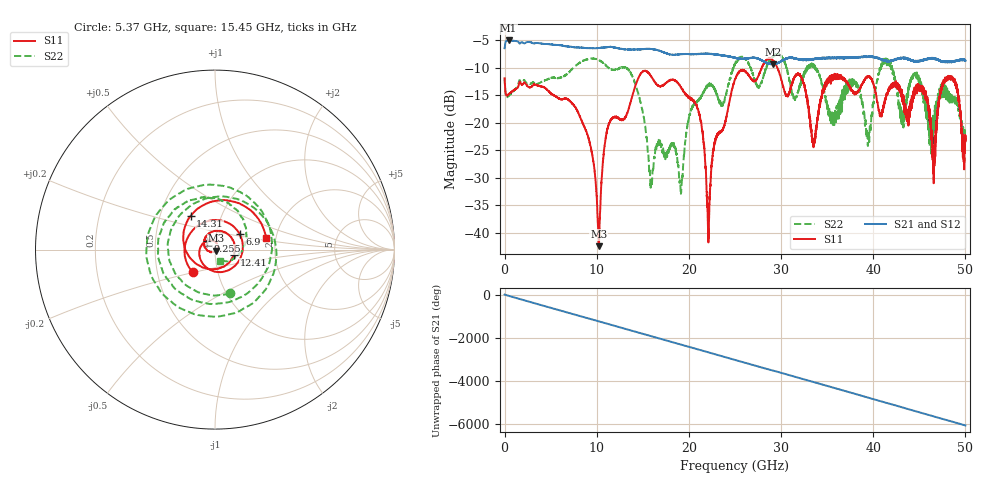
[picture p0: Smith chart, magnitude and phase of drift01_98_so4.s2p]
!Created with skrf (http://scikit-rf.org).
# Hz S RI R 50.0
!freq ReS11 ImS11 ReS21 ImS21 ReS12 ImS12 ReS22 ImS22
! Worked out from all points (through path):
!   10001 points, 300 kHz to 50 GHz, reference 50 ohm
!   highest |S21| = -5.05 dB at 425.3 MHz (marker M1); lowest = -9.4 dB at 29.12 GHz (marker M2)
!   group delay of S21, straight-line fit = 336 ps
!   lowest |S11| = -42.4 dB at 10.22 GHz (marker M3), VSWR 1.02, Z = 50.5 - j0.571 ohm
!   |S11| at or under -10 dB: start of sweep to 27.91 GHz; 29.6 GHz to end of sweep
!   |S22| runs from -32.9 to -7.5 dB; largest |S21 - S12| = 0.015
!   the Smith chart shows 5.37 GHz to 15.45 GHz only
!   S11 on the Smith chart (normalised r, x): 5.37 GHz: 0.76, -0.20; 6.9 GHz: 1.29, +0.23; 9.255 GHz: 0.92, +0.09; 12.41 GHz: 1.23, -0.07; 14.31 GHz: 0.71, +0.28; 15.45 GHz: 1.78, +0.24
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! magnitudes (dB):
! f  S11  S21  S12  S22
! 300 kHz  -11.9  -6.5  -6.6  -11.8
! 425.3 MHz  -14.8  -5.1  -5.1  -15.1
! 5.37 GHz  -15.0  -5.9  -5.9  -11.8
! 6.9 GHz  -15.8  -6.1  -6.1  -11.0
! 8.335 GHz  -19.5  -6.4  -6.4  -8.9
! 9.255 GHz  -23.9  -6.5  -6.5  -8.4
! 10.22 GHz  -42.4  -6.4  -6.4  -8.6
! 12.41 GHz  -19.2  -6.5  -6.5  -10.2
! 14.31 GHz  -12.7  -6.7  -6.7  -13.6
! 15.45 GHz  -10.7  -6.6  -6.6  -23.0
! 16.67 GHz  -13.3  -6.9  -6.9  -23.3
! 19.13 GHz  -13.6  -7.5  -7.6  -32.8
! 20.86 GHz  -17.0  -7.6  -7.5  -16.3
! 22.13 GHz  -40.3  -7.5  -7.5  -13.4
! 25 GHz  -12.1  -8.2  -8.2  -9.6
! 29.12 GHz  -8.6  -9.4  -9.4  -7.9
! 33.34 GHz  -22.3  -8.5  -8.4  -9.5
! 39.47 GHz  -11.6  -8.0  -8.0  -22.1
! 41.67 GHz  -13.9  -8.8  -8.8  -9.0
! 46.55 GHz  -29.3  -8.4  -8.3  -19.9
! 48.56 GHz  -12.0  -8.8  -8.8  -15.6
! 50 GHz  -23.1  -8.7  -8.6  -23.5
